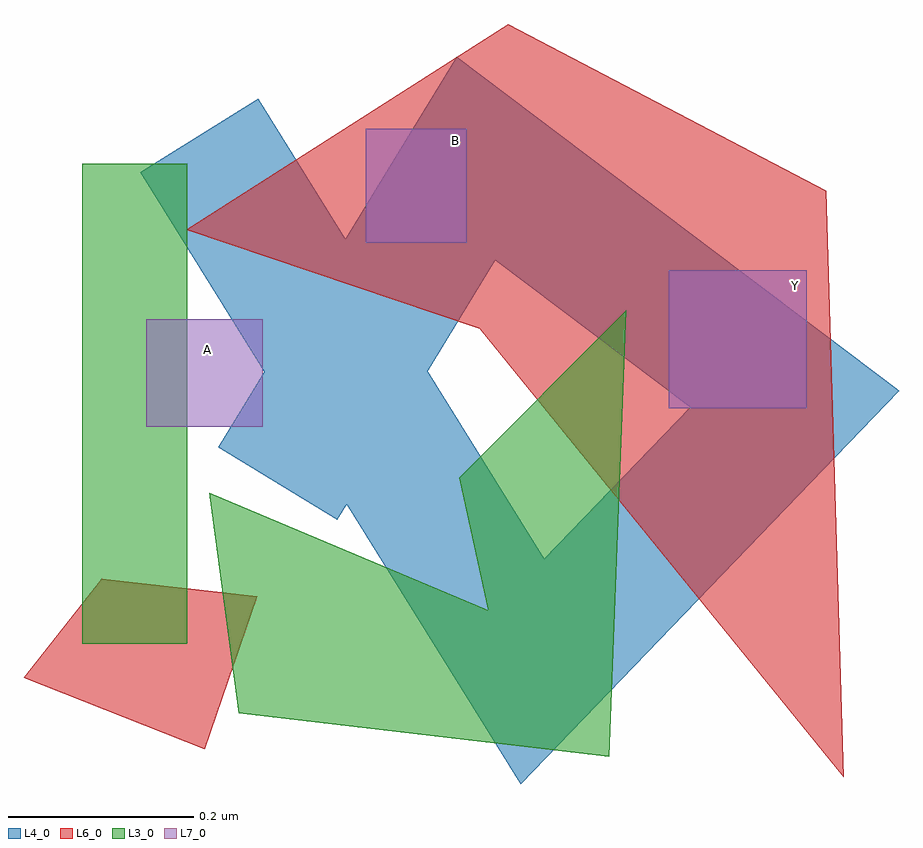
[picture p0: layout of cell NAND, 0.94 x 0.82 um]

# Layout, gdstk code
import gdstk
lib = gdstk.Library(unit=1e-6, precision=1e-09)
def R(c, l, rs):  # rectangles x0, y0, x1, y1
    for r in rs: c.add(gdstk.rectangle(r[:2], r[2:], *l))
def P(c, l, *ps):  # polygons
    for p in ps: c.add(gdstk.Polygon(p, *l))
L3_0 = (3, 0)
L4_0 = (4, 0)
L6_0 = (6, 0)
L7_0 = (7, 0)

nand = lib.new_cell('NAND')
R(nand, L3_0, [(-0.246,-0.123,-0.133,0.395)])
P(nand, L3_0, [(0.323,-0.245),(-0.077,-0.198),(-0.109,0.04),(0.192,-0.087),(0.161,0.056),(0.341,0.237)])
P(nand, L6_0, [(0.576,-0.267),(0.183,0.217),(-0.134,0.324),(0.214,0.546),(0.557,0.366)],
  [(-0.114,-0.237),(-0.309,-0.16),(-0.225,-0.053),(-0.057,-0.072)])
R(nand, L7_0, [(-0.177,0.111,-0.051,0.227), (0.387,0.131,0.536,0.28), (0.06,0.31,0.169,0.433)])
nand.add(gdstk.FlexPath([(0.004,0.114),(0.179,0.401),(0.523,0.141),(0.24,-0.153),(-0.08,0.362)], 0.15, ends="extended", simple_path=True, layer=4, datatype=0))  # L4_0
nand.add(gdstk.Label('A', (-0.111,0.195), layer=7, texttype=0))
nand.add(gdstk.Label('B', (0.157,0.42), layer=7, texttype=0))
nand.add(gdstk.Label('Y', (0.524,0.264), layer=7, texttype=0))

lib.write_gds('NAND.gds')
